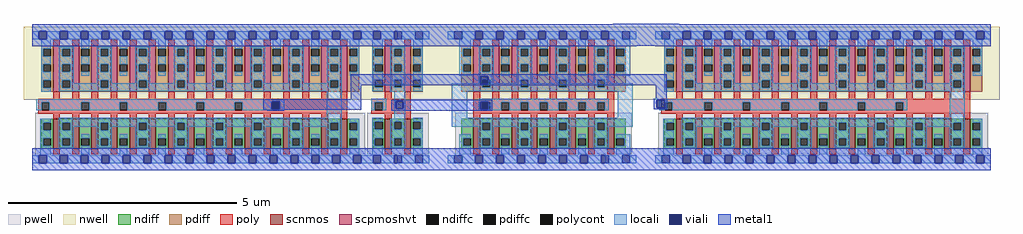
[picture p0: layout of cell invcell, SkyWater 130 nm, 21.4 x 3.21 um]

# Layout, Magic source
magic
tech sky130A
magscale 1 2
<< nwell >>
rect 10784 7195 10824 7516
rect 11708 7195 11748 7516
<< locali >>
rect 10990 7299 11034 7300
rect 10990 7265 10995 7299
rect 11029 7265 11034 7299
rect 10990 7264 11034 7265
rect 10072 7188 10124 7190
rect 10072 7154 10081 7188
rect 10115 7154 10124 7188
rect 10620 7189 10662 7190
rect 10620 7155 10624 7189
rect 10658 7155 10662 7189
rect 10620 7154 10662 7155
rect 10992 7187 11034 7188
rect 10072 7152 10124 7154
rect 10992 7153 10996 7187
rect 11030 7153 11034 7187
rect 11768 7160 11769 7194
rect 11803 7160 11804 7194
rect 10992 7152 11034 7153
<< viali >>
rect 10995 7265 11029 7299
rect 10081 7154 10115 7188
rect 10624 7155 10658 7189
rect 10996 7153 11030 7187
rect 11769 7160 11803 7194
<< metal1 >>
rect 10632 7430 10942 7526
rect 11576 7432 11866 7528
rect 10426 7299 11812 7306
rect 10426 7265 10995 7299
rect 11029 7265 11812 7299
rect 10426 7258 11812 7265
rect 10426 7198 10474 7258
rect 11764 7200 11812 7258
rect 10044 7188 10474 7198
rect 10044 7154 10081 7188
rect 10115 7154 10474 7188
rect 10044 7150 10474 7154
rect 10604 7189 11048 7196
rect 10604 7155 10624 7189
rect 10658 7187 11048 7189
rect 10658 7155 10996 7187
rect 10604 7153 10996 7155
rect 11030 7153 11048 7187
rect 11756 7194 11816 7200
rect 11756 7160 11769 7194
rect 11803 7160 11816 7194
rect 11756 7154 11816 7160
rect 10060 7146 10136 7150
rect 10604 7146 11048 7153
rect 10632 6886 10942 6982
rect 11542 6886 11832 6982
use sky130_fd_sc_hd__inv_2  sky130_fd_sc_hd__inv_2_0
transform 1 0 10496 0 1 6934
box -38 -48 314 592
use sky130_fd_sc_hd__inv_2  sky130_fd_sc_hd__inv_2_1
transform 1 0 10496 0 1 6934
box -38 -48 314 592
use sky130_fd_sc_hd__inv_8  sky130_fd_sc_hd__inv_8_0
transform 1 0 10852 0 1 6934
box -38 -48 866 592
use sky130_fd_sc_hd__inv_8  sky130_fd_sc_hd__inv_8_1
transform 1 0 10852 0 1 6934
box -38 -48 866 592
use sky130_fd_sc_hd__inv_16  sky130_fd_sc_hd__inv_16_0
transform 1 0 11762 0 1 6934
box -38 -48 1510 592
use sky130_fd_sc_hd__inv_16  sky130_fd_sc_hd__inv_16_1
transform 1 0 9030 0 1 6934
box -38 -48 1510 592
use sky130_fd_sc_hd__inv_16  sky130_fd_sc_hd__inv_16_2
transform 1 0 11762 0 1 6934
box -38 -48 1510 592
use sky130_fd_sc_hd__inv_16  sky130_fd_sc_hd__inv_16_3
transform 1 0 9030 0 1 6934
box -38 -48 1510 592
<< properties >>
string GDS_END 9389266
string GDS_FILE /scratch/users/lsammaro/OpenPUF/mag/design_merged.gds
string GDS_START 9385638
<< end >>

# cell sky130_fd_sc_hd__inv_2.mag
magic
tech sky130A
magscale 1 2
<< nwell >>
rect -38 261 314 582
<< pwell >>
rect 3 21 273 203
rect 29 -17 63 21
<< scnmos >>
rect 81 47 111 177
rect 165 47 195 177
<< scpmoshvt >>
rect 81 297 111 497
rect 165 297 195 497
<< ndiff >>
rect 29 165 81 177
rect 29 131 37 165
rect 71 131 81 165
rect 29 93 81 131
rect 29 59 37 93
rect 71 59 81 93
rect 29 47 81 59
rect 111 165 165 177
rect 111 131 121 165
rect 155 131 165 165
rect 111 93 165 131
rect 111 59 121 93
rect 155 59 165 93
rect 111 47 165 59
rect 195 165 247 177
rect 195 131 205 165
rect 239 131 247 165
rect 195 93 247 131
rect 195 59 205 93
rect 239 59 247 93
rect 195 47 247 59
<< pdiff >>
rect 29 485 81 497
rect 29 451 37 485
rect 71 451 81 485
rect 29 417 81 451
rect 29 383 37 417
rect 71 383 81 417
rect 29 349 81 383
rect 29 315 37 349
rect 71 315 81 349
rect 29 297 81 315
rect 111 485 165 497
rect 111 451 121 485
rect 155 451 165 485
rect 111 417 165 451
rect 111 383 121 417
rect 155 383 165 417
rect 111 349 165 383
rect 111 315 121 349
rect 155 315 165 349
rect 111 297 165 315
rect 195 485 247 497
rect 195 451 205 485
rect 239 451 247 485
rect 195 417 247 451
rect 195 383 205 417
rect 239 383 247 417
rect 195 349 247 383
rect 195 315 205 349
rect 239 315 247 349
rect 195 297 247 315
<< ndiffc >>
rect 37 131 71 165
rect 37 59 71 93
rect 121 131 155 165
rect 121 59 155 93
rect 205 131 239 165
rect 205 59 239 93
<< pdiffc >>
rect 37 451 71 485
rect 37 383 71 417
rect 37 315 71 349
rect 121 451 155 485
rect 121 383 155 417
rect 121 315 155 349
rect 205 451 239 485
rect 205 383 239 417
rect 205 315 239 349
<< poly >>
rect 81 497 111 523
rect 165 497 195 523
rect 81 265 111 297
rect 165 265 195 297
rect 21 249 195 265
rect 21 215 37 249
rect 71 215 195 249
rect 21 199 195 215
rect 81 177 111 199
rect 165 177 195 199
rect 81 21 111 47
rect 165 21 195 47
<< polycont >>
rect 37 215 71 249
<< locali >>
rect 0 527 29 561
rect 63 527 121 561
rect 155 527 213 561
rect 247 527 276 561
rect 25 485 71 527
rect 25 451 37 485
rect 25 417 71 451
rect 25 383 37 417
rect 25 349 71 383
rect 25 315 37 349
rect 25 299 71 315
rect 105 485 171 493
rect 105 451 121 485
rect 155 451 171 485
rect 105 417 171 451
rect 105 383 121 417
rect 155 383 171 417
rect 105 349 171 383
rect 105 315 121 349
rect 155 315 171 349
rect 105 297 171 315
rect 205 485 247 527
rect 239 451 247 485
rect 205 417 247 451
rect 239 383 247 417
rect 205 349 247 383
rect 239 315 247 349
rect 205 299 247 315
rect 21 249 87 265
rect 21 215 37 249
rect 71 215 87 249
rect 25 165 71 181
rect 121 177 171 297
rect 25 131 37 165
rect 25 93 71 131
rect 25 59 37 93
rect 25 17 71 59
rect 105 165 171 177
rect 105 131 121 165
rect 155 131 171 165
rect 105 93 171 131
rect 105 59 121 93
rect 155 59 171 93
rect 105 51 171 59
rect 205 165 247 181
rect 239 131 247 165
rect 205 93 247 131
rect 239 59 247 93
rect 205 17 247 59
rect 0 -17 29 17
rect 63 -17 121 17
rect 155 -17 213 17
rect 247 -17 276 17
<< viali >>
rect 29 527 63 561
rect 121 527 155 561
rect 213 527 247 561
rect 29 -17 63 17
rect 121 -17 155 17
rect 213 -17 247 17
<< metal1 >>
rect 0 561 276 592
rect 0 527 29 561
rect 63 527 121 561
rect 155 527 213 561
rect 247 527 276 561
rect 0 496 276 527
rect 0 17 276 48
rect 0 -17 29 17
rect 63 -17 121 17
rect 155 -17 213 17
rect 247 -17 276 17
rect 0 -48 276 -17
<< labels >>
flabel locali s 29 221 63 255 0 FreeSans 531 0 0 0 A
port 1 nsew
flabel locali s 121 153 155 187 0 FreeSans 531 0 0 0 Y
port 2 nsew
flabel locali s 121 289 155 323 0 FreeSans 531 0 0 0 Y
port 2 nsew
flabel locali s 121 221 155 255 0 FreeSans 531 0 0 0 Y
port 2 nsew
flabel nwell s 29 527 63 561 0 FreeSans 312 0 0 0 VPB
port 3 nsew
flabel pwell s 29 -17 63 17 0 FreeSans 312 0 0 0 VNB
port 4 nsew
flabel metal1 s 29 527 63 561 0 FreeSans 312 0 0 0 VPWR
port 5 nsew
flabel metal1 s 29 -17 63 17 0 FreeSans 312 0 0 0 VGND
port 6 nsew
flabel locali s 46 238 46 238 0 FreeSans 531 0 0 0 A
port 1 nsew
flabel locali s 138 170 138 170 0 FreeSans 531 0 0 0 Y
port 2 nsew
flabel locali s 138 306 138 306 0 FreeSans 531 0 0 0 Y
port 2 nsew
flabel locali s 138 238 138 238 0 FreeSans 531 0 0 0 Y
port 2 nsew
flabel nwell s 46 544 46 544 0 FreeSans 312 0 0 0 VPB
port 3 nsew
flabel pwell s 46 0 46 0 0 FreeSans 312 0 0 0 VNB
port 4 nsew
flabel metal1 s 46 544 46 544 0 FreeSans 312 0 0 0 VPWR
port 5 nsew
flabel metal1 s 46 0 46 0 0 FreeSans 312 0 0 0 VGND
port 6 nsew
flabel locali s 46 238 46 238 0 FreeSans 340 0 0 0 A
port 1 nsew
flabel locali s 138 170 138 170 0 FreeSans 340 0 0 0 Y
port 2 nsew
flabel locali s 138 306 138 306 0 FreeSans 340 0 0 0 Y
port 2 nsew
flabel locali s 138 238 138 238 0 FreeSans 340 0 0 0 Y
port 2 nsew
flabel nwell s 46 544 46 544 0 FreeSans 200 0 0 0 VPB
port 3 nsew
flabel pwell s 46 0 46 0 0 FreeSans 200 0 0 0 VNB
port 4 nsew
flabel metal1 s 46 544 46 544 0 FreeSans 200 0 0 0 VPWR
port 5 nsew
flabel metal1 s 46 0 46 0 0 FreeSans 200 0 0 0 VGND
port 6 nsew
rlabel comment s 0 0 0 0 4 inv_2
<< properties >>
string FIXED_BBOX 0 0 276 544
string GDS_END 9932344
string GDS_FILE /scratch/users/lsammaro/OpenPUF/mag/design_merged.gds
string GDS_START 9920420
string path 0.000 0.000 6.900 0.000 
<< end >>

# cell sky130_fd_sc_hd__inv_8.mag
magic
tech sky130A
magscale 1 2
<< nwell >>
rect -38 261 866 582
<< pwell >>
rect 34 21 808 203
rect 34 17 63 21
rect 29 -17 63 17
<< scnmos >>
rect 112 47 142 177
rect 196 47 226 177
rect 280 47 310 177
rect 364 47 394 177
rect 448 47 478 177
rect 532 47 562 177
rect 616 47 646 177
rect 700 47 730 177
<< scpmoshvt >>
rect 112 297 142 497
rect 196 297 226 497
rect 280 297 310 497
rect 364 297 394 497
rect 448 297 478 497
rect 532 297 562 497
rect 616 297 646 497
rect 700 297 730 497
<< ndiff >>
rect 60 93 112 177
rect 60 59 68 93
rect 102 59 112 93
rect 60 47 112 59
rect 142 161 196 177
rect 142 127 152 161
rect 186 127 196 161
rect 142 93 196 127
rect 142 59 152 93
rect 186 59 196 93
rect 142 47 196 59
rect 226 93 280 177
rect 226 59 236 93
rect 270 59 280 93
rect 226 47 280 59
rect 310 161 364 177
rect 310 127 320 161
rect 354 127 364 161
rect 310 93 364 127
rect 310 59 320 93
rect 354 59 364 93
rect 310 47 364 59
rect 394 93 448 177
rect 394 59 404 93
rect 438 59 448 93
rect 394 47 448 59
rect 478 161 532 177
rect 478 127 488 161
rect 522 127 532 161
rect 478 93 532 127
rect 478 59 488 93
rect 522 59 532 93
rect 478 47 532 59
rect 562 93 616 177
rect 562 59 572 93
rect 606 59 616 93
rect 562 47 616 59
rect 646 161 700 177
rect 646 127 656 161
rect 690 127 700 161
rect 646 93 700 127
rect 646 59 656 93
rect 690 59 700 93
rect 646 47 700 59
rect 730 93 782 177
rect 730 59 740 93
rect 774 59 782 93
rect 730 47 782 59
<< pdiff >>
rect 60 485 112 497
rect 60 451 68 485
rect 102 451 112 485
rect 60 417 112 451
rect 60 383 68 417
rect 102 383 112 417
rect 60 297 112 383
rect 142 485 196 497
rect 142 451 152 485
rect 186 451 196 485
rect 142 417 196 451
rect 142 383 152 417
rect 186 383 196 417
rect 142 349 196 383
rect 142 315 152 349
rect 186 315 196 349
rect 142 297 196 315
rect 226 485 280 497
rect 226 451 236 485
rect 270 451 280 485
rect 226 417 280 451
rect 226 383 236 417
rect 270 383 280 417
rect 226 297 280 383
rect 310 485 364 497
rect 310 451 320 485
rect 354 451 364 485
rect 310 417 364 451
rect 310 383 320 417
rect 354 383 364 417
rect 310 349 364 383
rect 310 315 320 349
rect 354 315 364 349
rect 310 297 364 315
rect 394 485 448 497
rect 394 451 404 485
rect 438 451 448 485
rect 394 417 448 451
rect 394 383 404 417
rect 438 383 448 417
rect 394 297 448 383
rect 478 485 532 497
rect 478 451 488 485
rect 522 451 532 485
rect 478 417 532 451
rect 478 383 488 417
rect 522 383 532 417
rect 478 349 532 383
rect 478 315 488 349
rect 522 315 532 349
rect 478 297 532 315
rect 562 485 616 497
rect 562 451 572 485
rect 606 451 616 485
rect 562 417 616 451
rect 562 383 572 417
rect 606 383 616 417
rect 562 297 616 383
rect 646 485 700 497
rect 646 451 656 485
rect 690 451 700 485
rect 646 417 700 451
rect 646 383 656 417
rect 690 383 700 417
rect 646 349 700 383
rect 646 315 656 349
rect 690 315 700 349
rect 646 297 700 315
rect 730 485 782 497
rect 730 451 740 485
rect 774 451 782 485
rect 730 417 782 451
rect 730 383 740 417
rect 774 383 782 417
rect 730 297 782 383
<< ndiffc >>
rect 68 59 102 93
rect 152 127 186 161
rect 152 59 186 93
rect 236 59 270 93
rect 320 127 354 161
rect 320 59 354 93
rect 404 59 438 93
rect 488 127 522 161
rect 488 59 522 93
rect 572 59 606 93
rect 656 127 690 161
rect 656 59 690 93
rect 740 59 774 93
<< pdiffc >>
rect 68 451 102 485
rect 68 383 102 417
rect 152 451 186 485
rect 152 383 186 417
rect 152 315 186 349
rect 236 451 270 485
rect 236 383 270 417
rect 320 451 354 485
rect 320 383 354 417
rect 320 315 354 349
rect 404 451 438 485
rect 404 383 438 417
rect 488 451 522 485
rect 488 383 522 417
rect 488 315 522 349
rect 572 451 606 485
rect 572 383 606 417
rect 656 451 690 485
rect 656 383 690 417
rect 656 315 690 349
rect 740 451 774 485
rect 740 383 774 417
<< poly >>
rect 112 497 142 523
rect 196 497 226 523
rect 280 497 310 523
rect 364 497 394 523
rect 448 497 478 523
rect 532 497 562 523
rect 616 497 646 523
rect 700 497 730 523
rect 112 265 142 297
rect 196 265 226 297
rect 280 265 310 297
rect 364 265 394 297
rect 448 265 478 297
rect 532 265 562 297
rect 616 265 646 297
rect 700 265 730 297
rect 112 249 730 265
rect 112 215 152 249
rect 186 215 236 249
rect 270 215 320 249
rect 354 215 404 249
rect 438 215 488 249
rect 522 215 572 249
rect 606 215 656 249
rect 690 215 730 249
rect 112 199 730 215
rect 112 177 142 199
rect 196 177 226 199
rect 280 177 310 199
rect 364 177 394 199
rect 448 177 478 199
rect 532 177 562 199
rect 616 177 646 199
rect 700 177 730 199
rect 112 21 142 47
rect 196 21 226 47
rect 280 21 310 47
rect 364 21 394 47
rect 448 21 478 47
rect 532 21 562 47
rect 616 21 646 47
rect 700 21 730 47
<< polycont >>
rect 152 215 186 249
rect 236 215 270 249
rect 320 215 354 249
rect 404 215 438 249
rect 488 215 522 249
rect 572 215 606 249
rect 656 215 690 249
<< locali >>
rect 0 527 29 561
rect 63 527 121 561
rect 155 527 213 561
rect 247 527 305 561
rect 339 527 397 561
rect 431 527 489 561
rect 523 527 581 561
rect 615 527 673 561
rect 707 527 765 561
rect 799 527 828 561
rect 51 485 102 527
rect 51 451 68 485
rect 51 417 102 451
rect 51 383 68 417
rect 51 367 102 383
rect 136 485 202 493
rect 136 451 152 485
rect 186 451 202 485
rect 136 417 202 451
rect 136 383 152 417
rect 186 383 202 417
rect 136 349 202 383
rect 236 485 270 527
rect 236 417 270 451
rect 236 367 270 383
rect 304 485 370 493
rect 304 451 320 485
rect 354 451 370 485
rect 304 417 370 451
rect 304 383 320 417
rect 354 383 370 417
rect 136 333 152 349
rect 17 315 152 333
rect 186 333 202 349
rect 304 349 370 383
rect 404 485 438 527
rect 404 417 438 451
rect 404 367 438 383
rect 472 485 538 493
rect 472 451 488 485
rect 522 451 538 485
rect 472 417 538 451
rect 472 383 488 417
rect 522 383 538 417
rect 304 333 320 349
rect 186 315 320 333
rect 354 333 370 349
rect 472 349 538 383
rect 572 485 606 527
rect 572 417 606 451
rect 572 367 606 383
rect 640 485 706 493
rect 640 451 656 485
rect 690 451 706 485
rect 640 417 706 451
rect 640 383 656 417
rect 690 383 706 417
rect 472 333 488 349
rect 354 315 488 333
rect 522 333 538 349
rect 640 349 706 383
rect 740 485 800 527
rect 774 451 800 485
rect 740 417 800 451
rect 774 383 800 417
rect 740 367 800 383
rect 640 333 656 349
rect 522 315 656 333
rect 690 333 706 349
rect 690 315 811 333
rect 17 299 811 315
rect 17 181 86 299
rect 136 249 707 265
rect 136 215 152 249
rect 186 215 236 249
rect 270 215 320 249
rect 354 215 404 249
rect 438 215 488 249
rect 522 215 572 249
rect 606 215 656 249
rect 690 215 707 249
rect 747 181 811 299
rect 17 161 811 181
rect 17 143 152 161
rect 136 127 152 143
rect 186 143 320 161
rect 186 127 202 143
rect 51 93 102 109
rect 51 59 68 93
rect 51 17 102 59
rect 136 93 202 127
rect 304 127 320 143
rect 354 143 488 161
rect 354 127 370 143
rect 136 59 152 93
rect 186 59 202 93
rect 136 51 202 59
rect 236 93 270 109
rect 236 17 270 59
rect 304 93 370 127
rect 472 127 488 143
rect 522 143 656 161
rect 522 127 538 143
rect 304 59 320 93
rect 354 59 370 93
rect 304 51 370 59
rect 404 93 438 109
rect 404 17 438 59
rect 472 93 538 127
rect 640 127 656 143
rect 690 143 811 161
rect 690 127 706 143
rect 472 59 488 93
rect 522 59 538 93
rect 472 51 538 59
rect 572 93 606 109
rect 572 17 606 59
rect 640 93 706 127
rect 640 59 656 93
rect 690 59 706 93
rect 640 51 706 59
rect 740 93 801 109
rect 774 59 801 93
rect 740 17 801 59
rect 0 -17 29 17
rect 63 -17 121 17
rect 155 -17 213 17
rect 247 -17 305 17
rect 339 -17 397 17
rect 431 -17 489 17
rect 523 -17 581 17
rect 615 -17 673 17
rect 707 -17 765 17
rect 799 -17 828 17
<< viali >>
rect 29 527 63 561
rect 121 527 155 561
rect 213 527 247 561
rect 305 527 339 561
rect 397 527 431 561
rect 489 527 523 561
rect 581 527 615 561
rect 673 527 707 561
rect 765 527 799 561
rect 29 -17 63 17
rect 121 -17 155 17
rect 213 -17 247 17
rect 305 -17 339 17
rect 397 -17 431 17
rect 489 -17 523 17
rect 581 -17 615 17
rect 673 -17 707 17
rect 765 -17 799 17
<< metal1 >>
rect 0 561 828 592
rect 0 527 29 561
rect 63 527 121 561
rect 155 527 213 561
rect 247 527 305 561
rect 339 527 397 561
rect 431 527 489 561
rect 523 527 581 561
rect 615 527 673 561
rect 707 527 765 561
rect 799 527 828 561
rect 0 496 828 527
rect 0 17 828 48
rect 0 -17 29 17
rect 63 -17 121 17
rect 155 -17 213 17
rect 247 -17 305 17
rect 339 -17 397 17
rect 431 -17 489 17
rect 523 -17 581 17
rect 615 -17 673 17
rect 707 -17 765 17
rect 799 -17 828 17
rect 0 -48 828 -17
<< labels >>
flabel locali s 213 221 247 255 0 FreeSans 487 0 0 0 A
port 1 nsew
flabel locali s 305 221 339 255 0 FreeSans 487 0 0 0 A
port 1 nsew
flabel locali s 397 221 431 255 0 FreeSans 487 0 0 0 A
port 1 nsew
flabel locali s 489 221 523 255 0 FreeSans 487 0 0 0 A
port 1 nsew
flabel locali s 581 221 615 255 0 FreeSans 487 0 0 0 A
port 1 nsew
flabel locali s 673 221 707 255 0 FreeSans 487 0 0 0 A
port 1 nsew
flabel locali s 765 221 799 255 0 FreeSans 487 0 0 0 Y
port 2 nsew
flabel locali s 29 221 63 255 0 FreeSans 487 0 0 0 Y
port 2 nsew
flabel pwell s 29 -17 63 17 0 FreeSans 390 0 0 0 VNB
port 3 nsew
flabel nwell s 29 527 63 561 0 FreeSans 390 0 0 0 VPB
port 4 nsew
flabel metal1 s 29 -17 63 17 0 FreeSans 390 0 0 0 VGND
port 5 nsew
flabel metal1 s 29 527 63 561 0 FreeSans 390 0 0 0 VPWR
port 6 nsew
flabel locali s 230 238 230 238 0 FreeSans 487 0 0 0 A
port 1 nsew
flabel locali s 322 238 322 238 0 FreeSans 487 0 0 0 A
port 1 nsew
flabel locali s 414 238 414 238 0 FreeSans 487 0 0 0 A
port 1 nsew
flabel locali s 506 238 506 238 0 FreeSans 487 0 0 0 A
port 1 nsew
flabel locali s 598 238 598 238 0 FreeSans 487 0 0 0 A
port 1 nsew
flabel locali s 690 238 690 238 0 FreeSans 487 0 0 0 A
port 1 nsew
flabel locali s 782 238 782 238 0 FreeSans 487 0 0 0 Y
port 2 nsew
flabel locali s 46 238 46 238 0 FreeSans 487 0 0 0 Y
port 2 nsew
flabel pwell s 46 0 46 0 0 FreeSans 390 0 0 0 VNB
port 3 nsew
flabel nwell s 46 544 46 544 0 FreeSans 390 0 0 0 VPB
port 4 nsew
flabel metal1 s 46 0 46 0 0 FreeSans 390 0 0 0 VGND
port 5 nsew
flabel metal1 s 46 544 46 544 0 FreeSans 390 0 0 0 VPWR
port 6 nsew
flabel locali s 230 238 230 238 0 FreeSans 487 0 0 0 A
port 1 nsew
flabel locali s 322 238 322 238 0 FreeSans 487 0 0 0 A
port 1 nsew
flabel locali s 414 238 414 238 0 FreeSans 487 0 0 0 A
port 1 nsew
flabel locali s 506 238 506 238 0 FreeSans 487 0 0 0 A
port 1 nsew
flabel locali s 598 238 598 238 0 FreeSans 487 0 0 0 A
port 1 nsew
flabel locali s 690 238 690 238 0 FreeSans 487 0 0 0 A
port 1 nsew
flabel locali s 782 238 782 238 0 FreeSans 487 0 0 0 Y
port 2 nsew
flabel locali s 46 238 46 238 0 FreeSans 487 0 0 0 Y
port 2 nsew
flabel pwell s 46 0 46 0 0 FreeSans 390 0 0 0 VNB
port 3 nsew
flabel nwell s 46 544 46 544 0 FreeSans 390 0 0 0 VPB
port 4 nsew
flabel metal1 s 46 0 46 0 0 FreeSans 390 0 0 0 VGND
port 5 nsew
flabel metal1 s 46 544 46 544 0 FreeSans 390 0 0 0 VPWR
port 6 nsew
flabel locali s 230 238 230 238 0 FreeSans 487 0 0 0 A
port 1 nsew
flabel locali s 322 238 322 238 0 FreeSans 487 0 0 0 A
port 1 nsew
flabel locali s 414 238 414 238 0 FreeSans 487 0 0 0 A
port 1 nsew
flabel locali s 506 238 506 238 0 FreeSans 487 0 0 0 A
port 1 nsew
flabel locali s 598 238 598 238 0 FreeSans 487 0 0 0 A
port 1 nsew
flabel locali s 690 238 690 238 0 FreeSans 487 0 0 0 A
port 1 nsew
flabel locali s 782 238 782 238 0 FreeSans 487 0 0 0 Y
port 2 nsew
flabel locali s 46 238 46 238 0 FreeSans 487 0 0 0 Y
port 2 nsew
flabel pwell s 46 0 46 0 0 FreeSans 390 0 0 0 VNB
port 3 nsew
flabel nwell s 46 544 46 544 0 FreeSans 390 0 0 0 VPB
port 4 nsew
flabel metal1 s 46 0 46 0 0 FreeSans 390 0 0 0 VGND
port 5 nsew
flabel metal1 s 46 544 46 544 0 FreeSans 390 0 0 0 VPWR
port 6 nsew
flabel locali s 230 238 230 238 0 FreeSans 250 0 0 0 A
port 1 nsew
flabel locali s 322 238 322 238 0 FreeSans 250 0 0 0 A
port 1 nsew
flabel locali s 414 238 414 238 0 FreeSans 250 0 0 0 A
port 1 nsew
flabel locali s 506 238 506 238 0 FreeSans 250 0 0 0 A
port 1 nsew
flabel locali s 598 238 598 238 0 FreeSans 250 0 0 0 A
port 1 nsew
flabel locali s 690 238 690 238 0 FreeSans 250 0 0 0 A
port 1 nsew
flabel locali s 782 238 782 238 0 FreeSans 250 0 0 0 Y
port 2 nsew
flabel locali s 46 238 46 238 0 FreeSans 250 0 0 0 Y
port 2 nsew
flabel pwell s 46 0 46 0 0 FreeSans 200 0 0 0 VNB
port 3 nsew
flabel nwell s 46 544 46 544 0 FreeSans 200 0 0 0 VPB
port 4 nsew
flabel metal1 s 46 0 46 0 0 FreeSans 200 0 0 0 VGND
port 5 nsew
flabel metal1 s 46 544 46 544 0 FreeSans 200 0 0 0 VPWR
port 6 nsew
rlabel comment s 0 0 0 0 4 inv_8
<< properties >>
string FIXED_BBOX 0 0 828 544
string GDS_END 9627510
string GDS_FILE /scratch/users/lsammaro/OpenPUF/mag/design_merged.gds
string GDS_START 9585002
string path 0.000 0.000 20.700 0.000 
<< end >>

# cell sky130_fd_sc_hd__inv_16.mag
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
